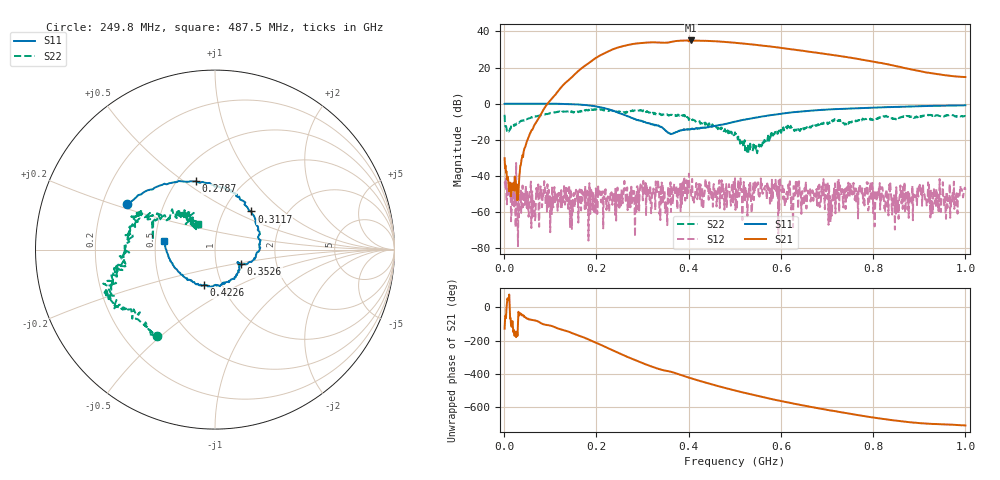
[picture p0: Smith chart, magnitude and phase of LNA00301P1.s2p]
! Created with skrf 1.9.0 (http://scikit-rf.org).
# Hz S RI R 50.0
!freq ReS11 ImS11 ReS21 ImS21 ReS12 ImS12 ReS22 ImS22
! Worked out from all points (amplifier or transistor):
!   1001 points, 1 MHz to 1 GHz, reference 50 ohm
!   highest |S21| = 35.0 dB at 404.6 MHz (marker M1)
!   |S21| within 3 dB of that: 260 MHz to 565.6 MHz (305.6 MHz wide, 74 % of centre)
!   unconditionally stable (mu >= 1): 4.332 MHz to 57.46 MHz; 219.8 MHz to 260.1 MHz; 309.7 MHz to end of sweep (the widest 3 of 39)
!   at 166.8 MHz: K = 3.40, MAG = 31.0 dB, |S12| = -59.1 dB
!   at 500.5 MHz: K = 1.24, MAG = 34.6 dB, |S12| = -41.3 dB
!   at 1 GHz: K = 3.02, MAG = 23.5 dB, |S12| = -47.7 dB
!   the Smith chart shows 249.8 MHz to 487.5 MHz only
!   S11 on the Smith chart (normalised r, x): 249.8 MHz: 0.30, +0.22; 278.7 MHz: 0.61, +0.55; 311.7 MHz: 1.34, +0.62; 352.6 MHz: 1.32, -0.22; 422.6 MHz: 0.82, -0.34; 487.5 MHz: 0.55, +0.06
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1000000  0.9875 0.00886  -0.0192 -0.0243  -0.00617 -0.001  0.3663 0.3266
1.08892e8  0.514 -0.85  -0.7777 -1.456  -0.00378 0.00316  0.4206 -0.382
1.67833e8  -0.2431 -0.902  -9.511 -0.6025  0.00187 0.00368  0.0371 -0.6249
2.12788e8  -0.7003 -0.3304  -14.89 17.74  -0.00167 -0.00335  -0.2159 -0.6417
2.29771e8  -0.6775 -0.0298  -9.095 27.98  -0.00111 0.00162  -0.2724 -0.6049
2.49751e8  -0.4892 0.2565  4.861 36.37  0.000523 0.00121  -0.3235 -0.4817
2.78722e8  -0.1079 0.3806  30.03 32.77  -0.00158 0.00127  -0.5666 -0.3307
3.11689e8  0.2024 0.2126  47.99 9.567  -0.00375 0.00208  -0.5777 -0.1434
3.34666e8  0.247 -0.00504  48.3 -9.911  -0.00116 0.00461  -0.508 -0.027
3.52648e8  0.1463 -0.0817  44.52 -19.75  -0.000406 -0.00129  -0.494 0.0799
3.74626e8  0.1346 -0.0945  40.92 -35.3  -0.00138 0.00148  -0.4203 0.1751
4.04596e8  0.0375 -0.1939  20.81 -51.98  0.00333 0.00328  -0.3207 0.1669
4.22578e8  -0.0603 -0.1972  6.45 -54.9  0.00601 0.000428  -0.2541 0.1751
4.53547e8  -0.2049 -0.1223  -16.29 -50.82  0.00284 0.00383  -0.1629 0.1799
4.87513e8  -0.2861 0.0495  -34.06 -36.48  0.00188 0.00564  -0.0937 0.1431
5.005e8  -0.2932 0.1199  -38.71 -29.63  -0.00581 0.00639  -0.0776 0.1403
5.4046e8  -0.2079 0.3439  -42.3 -7.799  0.00608 0.00155  -0.0688 0.0272
5.88412e8  0.00875 0.5042  -34.41 12.31  0.00646 -0.00442  -0.1194 -0.0947
6.67333e8  0.3999 0.5035  -12.03 23.74  -0.000774 -0.00265  -0.233 -0.0599
7.53247e8  0.6773 0.2868  4.744 17.8  -0.001 -0.00297  -0.3022 0.0156
8.34166e8  0.7997 0.0238  9.155 7.862  -0.00394 0.0005  -0.4224 0.0585
1e9  0.7281 -0.53  5.412 0.5606  0.00226 0.00343  -0.2215 0.3866
